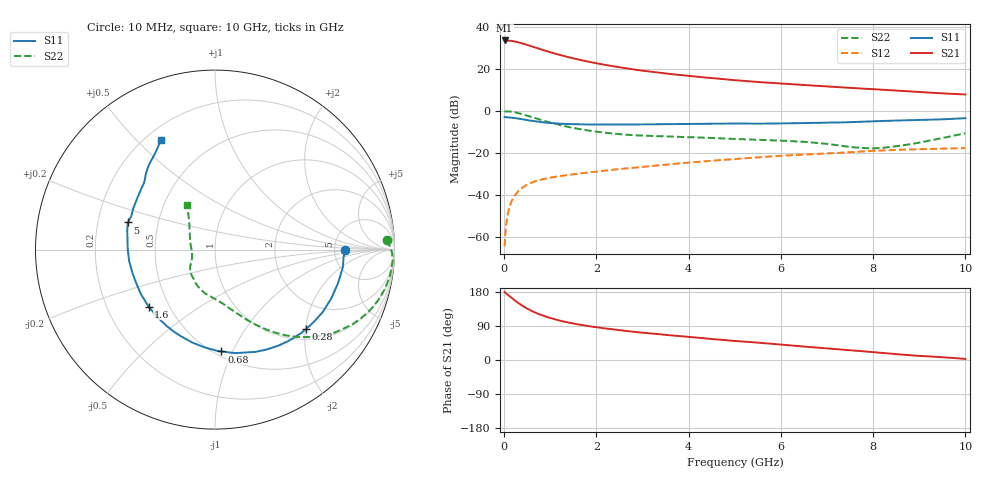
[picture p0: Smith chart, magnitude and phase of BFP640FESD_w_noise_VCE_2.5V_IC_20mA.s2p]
! Infineon Technologies  Discrete & RF Semiconductors
! BFP640FESD
! VCE =  2.5 V,  IC =  20 mA
! Common Emitter S-Parameters:  Jan 2016
# GHz  S  MA  R  50
!  f  S11  S21  S12  S22
! GHz  MAG  ANG  MAG  ANG  MAG  ANG  MAG  ANG
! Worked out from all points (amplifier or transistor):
!   233 points, 10 MHz to 10 GHz, reference 50 ohm
!   highest |S21| = 33.7 dB at 10 MHz (marker M1)
!   |S21| within 3 dB of that: start of sweep to 623.3 MHz
!   unconditionally stable (mu >= 1): 4.145 GHz to end of sweep
!   at 200 MHz: K = 0.10, MSG = 37.4 dB, |S12| = -41.4 dB
!   at 1.74 GHz: K = 0.72, MSG = 26.7 dB, |S12| = -29.5 dB
!   at 10 GHz: K = 1.08, MAG = 11.0 dB, |S12| = -17.7 dB
!   lowest NFmin = 0.88 dB at 450 MHz
!   S11 on the Smith chart (normalised r, x): 10 MHz: 6.27, -0.07; 280 MHz: 1.24, -2.01; 680 MHz: 0.54, -0.91; 1.6 GHz: 0.39, -0.32; 5 GHz: 0.33, +0.14; 10 GHz: 0.26, +0.59
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0.01  0.7251 -0.2  48.62 179.7  0.0006 68.7  0.9623 3.2
0.02  0.7176 -3.3  48.53 177.8  0.001 81.2  0.9873 -1.1
0.1  0.7105 -15.3  48.29 170.2  0.0045 83.0  0.9863 -8.5
0.15  0.7024 -22.9  47.66 165.0  0.0066 80.1  0.9719 -13.0
0.28  0.6723 -41.3  44.65 152.7  0.0114 71.7  0.9117 -23.4
0.36  0.6514 -51.9  42.42 146.0  0.0141 67.7  0.866 -29.1
0.45  0.6268 -62.7  39.64 139.0  0.0165 63.8  0.8116 -34.7
0.6  0.5878 -78.9  35.1 129.1  0.0199 58.6  0.7212 -42.5
0.68  0.5687 -86.4  32.85 124.8  0.0213 56.7  0.6775 -46.0
0.8  0.5473 -96.5  29.74 118.8  0.0233 54.4  0.618 -50.6
0.9  0.5325 -104.0  27.5 114.5  0.0246 53.0  0.5741 -53.9
1.1  0.5109 -116.9  23.65 107.3  0.0271 51.4  0.5002 -59.5
1.3  0.4976 -127.2  20.61 101.3  0.0292 50.5  0.4425 -64.4
1.6  0.4877 -139.4  17.13 94.0  0.0322 50.3  0.3785 -70.7
1.68  0.4844 -142.2  16.39 92.4  0.033 50.3  0.3655 -72.2
2.4  0.4772 -160.9  11.6 80.0  0.0405 51.2  0.2888 -85.5
3.4  0.4846 -178.3  8.159 67.6  0.0516 51.6  0.2521 -101.4
5  0.5092 162.7  5.486 50.2  0.0715 48.7  0.217 -119.5
5.1  0.5076 161.9  5.376 49.4  0.073 48.5  0.2151 -120.0
6.8  0.5258 143.2  4.011 32.5  0.0956 41.3  0.1733 -143.0
8.4  0.5922 129.0  3.146 16.5  0.1181 33.1  0.1409 166.3
10  0.6798 116.4  2.495 2.8  0.1308 23.0  0.296 122.4
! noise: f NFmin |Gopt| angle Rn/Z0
0.45  0.88  0.04  -159  0.09
2.4  0.91  0.1  -167  0.09
5.5  1.14  0.24  -175  0.08
10  1.67  0.43  -111  0.25
